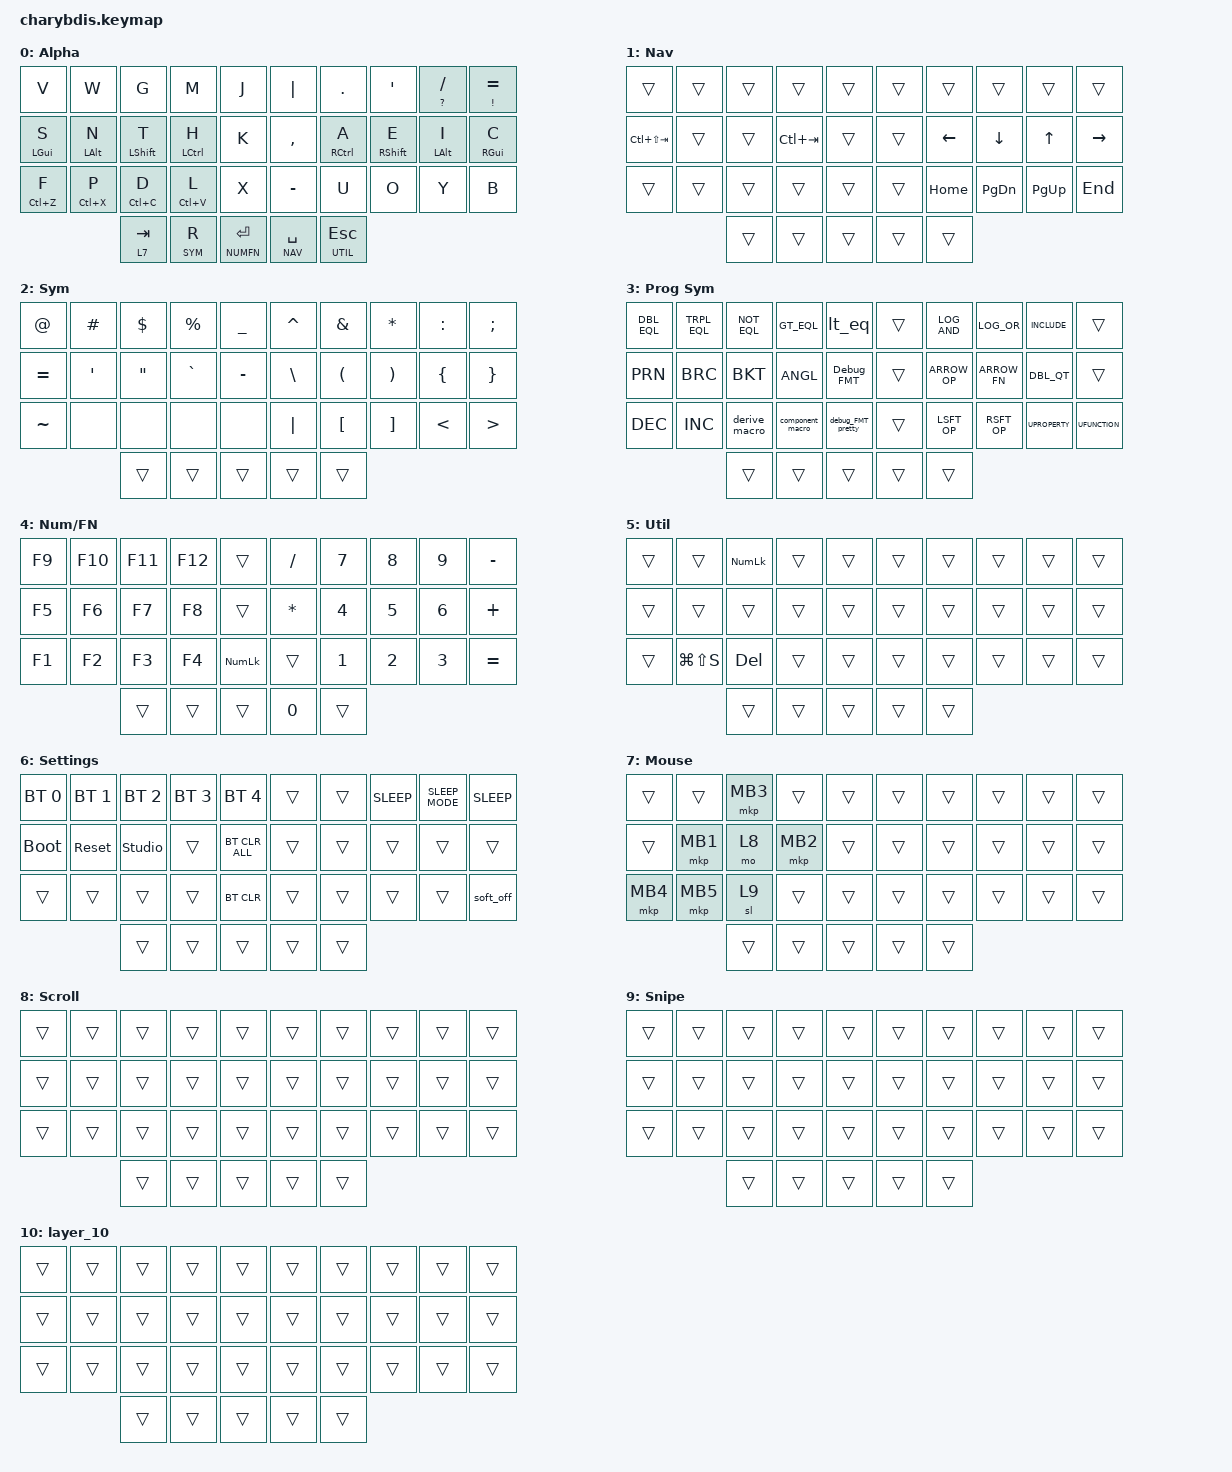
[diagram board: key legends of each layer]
#include "layers.conf"
#include "macros.conf"
#include "combos.conf"
#include <dt-bindings/zmk/mouse.h>
#include <input/processors.dtsi>
#include <dt-bindings/zmk/input_transform.h>
#include <behaviors.dtsi>
#include <dt-bindings/zmk/bt.h>
#include <dt-bindings/zmk/keys.h>
#include <dt-bindings/zmk/pointing.h>

/ {
    trackball_listener {
        compatible = "zmk,input-listener";
        device = <&trackball_split>;

        snipe {
            layers = <SNIPE>;
            input-processors = <&zip_xy_scaler 1 3>;
        };

        scroll {
            layers = <SCROLL>;
            input-processors =
                <&zip_xy_scaler 1 3>,
                <&zip_xy_to_scroll_mapper>,
                <&zip_scroll_transform (INPUT_TRANSFORM_Y_INVERT)>;
        };
    };

    behaviors {
        hm: homerow_mods {
            compatible = "zmk,behavior-hold-tap";
            #binding-cells = <2>;
            tapping-term-ms = <200>;
            flavor = "tap-preferred";
            bindings = <&kp>, <&kp>;
        };

        kp_sl: behavior_kp_sl {
            compatible = "zmk,behavior-hold-tap";
            #binding-cells = <2>;
            flavor = "hold-preferred";
            tapping-term-ms = <200>;
            bindings = <&sl>, <&kp>;
        };

        ht: behavior_hold_tap_key {
            compatible = "zmk,behavior-hold-tap";
            #binding-cells = <2>;
            flavor = "hold-preferred";
            tapping-term-ms = <200>;
            bindings = <&kp>, <&kp>;
        };
    };

    conditional_layers {
        compatible = "zmk,conditional-layers";

        settings_trigger {
            if-layers = <1 4>;
            then-layer = <6>;
        };
    };

    combos {
        compatible = "zmk,combos";

        KP_Z {
            bindings = <&kp Z>;
            key-positions = <0 1>;
        };

        KP_Q {
            bindings = <&kp Q>;
            key-positions = <1 2>;
        };

        Semicolon {
            bindings = <&kp SEMICOLON>;
            key-positions = <17 18>;
        };

        Colon {
            bindings = <&kp COLON>;
            key-positions = <12 11>;
        };

        Underscore {
            bindings = <&kp UNDER>;
            key-positions = <18 19>;
        };
    };

    macros {
        Debug_FMT: Debug_FMT {
            compatible = "zmk,behavior-macro";
            #binding-cells = <0>;
            bindings = <&kp LEFT_BRACE &kp COLON &kp QMARK &kp RBRC>;
            label = "DEBUG_FMT";
        };

        debug_FMT_pretty: debug_FMT_pretty {
            compatible = "zmk,behavior-macro";
            #binding-cells = <0>;
            bindings = <&kp LEFT_BRACE &kp COLON &kp POUND &kp QMARK &kp RBRC>;
            label = "DEBUG_FMT_PRETTY";
        };

        derive_macro: derive {
            compatible = "zmk,behavior-macro";
            #binding-cells = <0>;
            bindings = <&kp POUND &kp LBKT &kp D &kp E &kp R &kp I &kp V &kp E &kp LPAR &kp RPAR &kp RIGHT_BRACKET &kp LEFT &kp LEFT>;
            label = "DERIVE";
        };

        component_macro: component_macro {
            compatible = "zmk,behavior-macro";
            #binding-cells = <0>;
            bindings = <&kp POUND &kp LBKT &kp C &kp O &kp M &kp P &kp O &kp N &kp E &kp N &kp T &kp RIGHT_BRACKET &kp RETURN>;
            label = "COMPONENT_MACRO";
        };

        lt_eq: lt_eq {
            compatible = "zmk,behavior-macro";
            #binding-cells = <0>;
            bindings = <&kp LT &kp EQUAL &kp SPACE>;
            label = "LT_EQ";
        };
    };

    keymap {
        compatible = "zmk,keymap";

        base_layer {
            display-name = "Alpha";
            bindings = <
  &kp V        &kp W        &kp G        &kp M        &kp J              &kp PIPE       &kp PERIOD    &kp SINGLE_QUOTE  &ht QUESTION SLASH  &ht EXCLAMATION EQUAL
  &hm LGUI S   &hm LALT N   &hm LSHFT T  &hm LCTRL H  &kp K              &kp COMMA      &hm RCTRL A   &hm RSHFT E       &hm LALT I          &hm RGUI C
  &mt LC(Z) F  &mt LC(X) P  &mt LC(C) D  &mt LC(V) L  &kp X              &kp MINUS      &kp U         &kp O             &kp Y               &kp B
                            &lt 7 TAB    &lt SYM R    &lt NUMFN ENTER    &lt NAV SPACE  &lt UTIL ESC
            >;
        };

        nav_layer {
            display-name = "Nav";
            bindings = <
  &trans           &trans  &trans  &trans       &trans    &trans  &trans    &trans     &trans     &trans
  &kp LC(LS(TAB))  &trans  &trans  &kp LC(TAB)  &trans    &trans  &kp LEFT  &kp DOWN   &kp UP     &kp RIGHT
  &trans           &trans  &trans  &trans       &trans    &trans  &kp HOME  &kp PG_DN  &kp PG_UP  &kp END
                           &trans  &trans       &trans    &trans  &trans
            >;
        };

        sym_layer {
            display-name = "Sym";
            bindings = <
  &kp AT     &kp HASH  &kp DLLR  &kp PRCNT  &kp UNDER    &kp CARET  &kp AMPS  &kp STAR  &kp COLON  &kp SEMI
  &kp EQUAL  &kp APOS  &kp DQT   &kp GRAVE  &kp MINUS    &kp BSLH   &kp LPAR  &kp RPAR  &kp LBRC   &kp RBRC
  &kp TILDE  &none     &none     &none      &none        &kp PIPE   &kp LBKT  &kp RBKT  &kp LT     &kp GT
                       &trans    &trans     &trans       &trans     &trans
            >;
        };

        prog_sym_layer {
            display-name = "Prog Sym";
            bindings = <
  &DBL_EQL  &TRPL_EQL  &NOT_EQL       &GT_EQL           &lt_eq               &trans  &LOG_AND   &LOG_OR    &INCLUDE    &trans
  &PRN      &BRC       &BKT           &ANGL             &Debug_FMT           &trans  &ARROW_OP  &ARROW_FN  &DBL_QT     &trans
  &DEC      &INC       &derive_macro  &component_macro  &debug_FMT_pretty    &trans  &LSFT_OP   &RSFT_OP   &UPROPERTY  &UFUNCTION
                       &trans         &trans            &trans               &trans  &trans
            >;
        };

        numfn_layer {
            display-name = "Num/FN";
            bindings = <
  &kp F9  &kp F10  &kp F11  &kp F12  &trans            &kp SLASH  &kp N7  &kp N8  &kp N9  &kp MINUS
  &kp F5  &kp F6   &kp F7   &kp F8   &trans            &kp STAR   &kp N4  &kp N5  &kp N6  &kp PLUS
  &kp F1  &kp F2   &kp F3   &kp F4   &kp KP_NUMLOCK    &trans     &kp N1  &kp N2  &kp N3  &kp EQUAL
                   &trans   &trans   &trans            &kp N0     &trans
            >;
        };

        util_layer {
            display-name = "Util";
            bindings = <
  &trans  &trans         &kp KP_NUMLOCK  &trans  &trans    &trans  &trans  &trans  &trans  &trans
  &trans  &trans         &trans          &trans  &trans    &trans  &trans  &trans  &trans  &trans
  &trans  &kp LG(LS(S))  &kp DEL         &trans  &trans    &trans  &trans  &trans  &trans  &trans
                         &trans          &trans  &trans    &trans  &trans
            >;
        };

        settings_layer {
            display-name = "Settings";
            bindings = <
  &bt BT_SEL 0  &bt BT_SEL 1  &bt BT_SEL 2    &bt BT_SEL 3  &bt BT_SEL 4      &trans  &trans  &kp K_SLEEP  &kp C_SLEEP_MODE  &kp C_SLEEP
  &bootloader   &sys_reset    &studio_unlock  &trans        &bt BT_CLR_ALL    &trans  &trans  &trans       &trans            &trans
  &trans        &trans        &trans          &trans        &bt BT_CLR        &trans  &trans  &trans       &trans            &soft_off
                              &trans          &trans        &trans            &trans  &trans
            >;
        };

        mouse_layer {
            display-name = "Mouse";
            bindings = <
  &trans    &trans    &mkp MB3  &trans    &trans    &trans  &trans  &trans  &trans  &trans
  &trans    &mkp MB1  &mo 8     &mkp MB2  &trans    &trans  &trans  &trans  &trans  &trans
  &mkp MB4  &mkp MB5  &sl 9     &trans    &trans    &trans  &trans  &trans  &trans  &trans
                      &trans    &trans    &trans    &trans  &trans
            >;
        };

        scroll_layer {
            display-name = "Scroll";
            bindings = <
  &trans  &trans  &trans  &trans  &trans    &trans  &trans  &trans  &trans  &trans
  &trans  &trans  &trans  &trans  &trans    &trans  &trans  &trans  &trans  &trans
  &trans  &trans  &trans  &trans  &trans    &trans  &trans  &trans  &trans  &trans
                  &trans  &trans  &trans    &trans  &trans
            >;
        };

        snipe_layer {
            display-name = "Snipe";
            bindings = <
  &trans  &trans  &trans  &trans  &trans    &trans  &trans  &trans  &trans  &trans
  &trans  &trans  &trans  &trans  &trans    &trans  &trans  &trans  &trans  &trans
  &trans  &trans  &trans  &trans  &trans    &trans  &trans  &trans  &trans  &trans
                  &trans  &trans  &trans    &trans  &trans
            >;
        };

        layer_10 {
            bindings = <
  &trans  &trans  &trans  &trans  &trans    &trans  &trans  &trans  &trans  &trans
  &trans  &trans  &trans  &trans  &trans    &trans  &trans  &trans  &trans  &trans
  &trans  &trans  &trans  &trans  &trans    &trans  &trans  &trans  &trans  &trans
                  &trans  &trans  &trans    &trans  &trans
            >;
        };
    };
};
